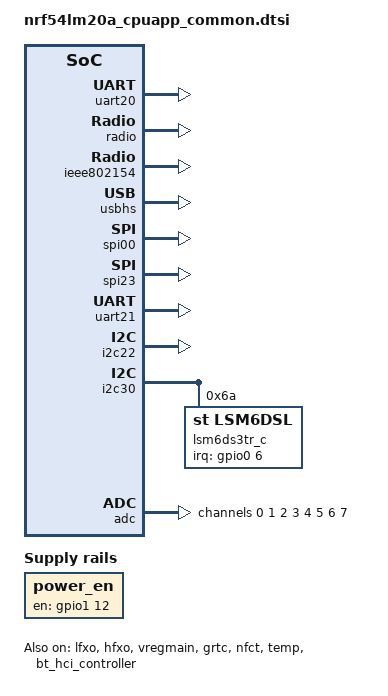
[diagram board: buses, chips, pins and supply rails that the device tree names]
/*
 * Copyright (c) 2025 Seeed Technology Co., Ltd.
 *
 * SPDX-License-Identifier: Apache-2.0
 */

/* This file is common to the secure and non-secure domain */

#include <nordic/nrf54lm20a_cpuapp.dtsi>
#include "xiao_nrf54lm20a_nrf54lm20a-common.dtsi"
#include <vendor/nordic/nrf54lm20a_cpuapp_partition.dtsi>

/ {
	power_en: power_en {
		compatible = "regulator-fixed";
		regulator-name = "power_en";
		enable-gpios = <&gpio1 12 GPIO_ACTIVE_HIGH>;
		regulator-boot-on;
	};

	chosen {
		zephyr,console = &uart20;
		zephyr,shell-uart = &uart20;
		zephyr,uart-mcumgr = &uart20;
		zephyr,bt-mon-uart = &uart20;
		zephyr,bt-c2h-uart = &uart20;
		zephyr,flash-controller = &rram_controller;
		zephyr,flash = &cpuapp_rram;
		zephyr,bt-hci = &bt_hci_controller;
		zephyr,ieee802154 = &ieee802154;
	};

	aliases {
		imu0 = &lsm6ds3tr_c;
	};
};

&cpuapp_sram {
	status = "okay";
};

&hfpll {
	clock-frequency = <DT_FREQ_M(128)>;
};

&lfxo {
	load-capacitors = "internal";
	load-capacitance-femtofarad = <17000>;
	status = "okay";
};

&hfxo {
	load-capacitors = "internal";
	load-capacitance-femtofarad = <15000>;
	status = "okay";
};

&vregmain {
	status = "okay";
	regulator-initial-mode = <NRF5X_REG_MODE_DCDC>;
};

&grtc {
	owned-channels = <0 1 2 3 4 5 6 7 8 9 10 11>;
	/* Channels 7-11 reserved for Zero Latency IRQs, 3-4 for FLPR */
	child-owned-channels = <3 4 7 8 9 10 11>;
	status = "okay";
};

&uart20 {
	status = "okay";
};

&nfct {
	status = "okay";
};

&gpio0 {
	status = "okay";
};

&gpio1 {
	status = "okay";
};

&gpio2 {
	status = "okay";
};

&gpiote20 {
	status = "okay";
};

&gpiote30 {
	status = "okay";
};

&radio {
	status = "okay";
};

&temp {
	status = "okay";
};

&clock {
	status = "okay";
};

&bt_hci_controller {
	status = "okay";
};

&ieee802154 {
	status = "okay";
};

zephyr_udc0: &usbhs {
	status = "okay";
};

&spi00 {
	status = "okay";

	cs-gpios = <&gpio2 5 GPIO_ACTIVE_LOW>;
	pinctrl-0 = <&spi00_default>;
	pinctrl-1 = <&spi00_sleep>;
	pinctrl-names = "default", "sleep";

	py25q64: py25q64ha@0 {
		compatible = "jedec,spi-nor";
		status = "disabled";
		reg = <0>;
		spi-max-frequency = <133000000>;
		jedec-id = [85 20 17];
		sfdp-bfp = [e5 20 f9 ff ff ff ff 03 44 eb 08 6b 08 3b 80 bb
			    fe ff ff ff ff ff 00 ff ff ff 44 eb 0c 20 0f 52
			    10 d8 00 81];
		size = <67108864>;
		has-dpd;
		t-enter-dpd = <3000>;
		t-exit-dpd = <30000>;
		requires-ulbpr;
		use-fast-read;
		hold-gpios = <&gpio2 0 GPIO_ACTIVE_LOW>;
		wp-gpios = <&gpio2 3 GPIO_ACTIVE_LOW>;
	};
};

&spi23 {
	status = "okay";
};

&uart21 {
	status = "okay";
};

&i2c22 {
	status = "okay";
};

&i2c30 {
	status = "okay";

	lsm6ds3tr_c: lsm6ds3tr-c@6a {
		compatible = "st,lsm6dsl";
		reg = <0x6a>;
		irq-gpios = <&gpio0 6 GPIO_ACTIVE_HIGH>;
		status = "okay";
	};
};

&adc {
	status = "okay";
};

&adc {
	#address-cells = <1>;
	#size-cells = <0>;

	channel@0 {
		reg = <0>;
		zephyr,gain = "ADC_GAIN_1_4";
		zephyr,reference = "ADC_REF_INTERNAL";
		zephyr,acquisition-time = <ADC_ACQ_TIME_DEFAULT>;
		zephyr,input-positive = <NRF_SAADC_AIN0>;
		zephyr,resolution = <12>;
		zephyr,oversampling = <8>;
	};

	channel@1 {
		reg = <1>;
		zephyr,gain = "ADC_GAIN_1_4";
		zephyr,reference = "ADC_REF_INTERNAL";
		zephyr,acquisition-time = <ADC_ACQ_TIME_DEFAULT>;
		zephyr,input-positive = <NRF_SAADC_AIN1>;
		zephyr,resolution = <12>;
		zephyr,oversampling = <8>;
	};

	channel@2 {
		reg = <2>;
		zephyr,gain = "ADC_GAIN_1_4";
		zephyr,reference = "ADC_REF_INTERNAL";
		zephyr,acquisition-time = <ADC_ACQ_TIME_DEFAULT>;
		zephyr,input-positive = <NRF_SAADC_AIN2>;
		zephyr,resolution = <12>;
		zephyr,oversampling = <8>;
	};

	channel@3 {
		reg = <3>;
		zephyr,gain = "ADC_GAIN_1_4";
		zephyr,reference = "ADC_REF_INTERNAL";
		zephyr,acquisition-time = <ADC_ACQ_TIME_DEFAULT>;
		zephyr,input-positive = <NRF_SAADC_AIN3>;
		zephyr,resolution = <12>;
		zephyr,oversampling = <8>;
	};

	channel@4 {
		reg = <4>;
		zephyr,gain = "ADC_GAIN_1_4";
		zephyr,reference = "ADC_REF_INTERNAL";
		zephyr,acquisition-time = <ADC_ACQ_TIME_DEFAULT>;
		zephyr,input-positive = <NRF_SAADC_AIN4>;
		zephyr,resolution = <12>;
		zephyr,oversampling = <8>;
	};

	channel@5 {
		reg = <5>;
		zephyr,gain = "ADC_GAIN_1_4";
		zephyr,reference = "ADC_REF_INTERNAL";
		zephyr,acquisition-time = <ADC_ACQ_TIME_DEFAULT>;
		zephyr,input-positive = <NRF_SAADC_AIN5>;
		zephyr,resolution = <12>;
		zephyr,oversampling = <8>;
	};

	channel@6 {
		reg = <6>;
		zephyr,gain = "ADC_GAIN_1_4";
		zephyr,reference = "ADC_REF_INTERNAL";
		zephyr,acquisition-time = <ADC_ACQ_TIME_DEFAULT>;
		zephyr,input-positive = <NRF_SAADC_AIN6>;
		zephyr,resolution = <12>;
		zephyr,oversampling = <8>;
	};

	channel@7 {
		reg = <7>;
		zephyr,gain = "ADC_GAIN_1_4";
		zephyr,reference = "ADC_REF_INTERNAL";
		zephyr,acquisition-time = <ADC_ACQ_TIME_DEFAULT>;
		zephyr,input-positive = <NRF_SAADC_AIN7>;
		zephyr,resolution = <12>;
		zephyr,oversampling = <8>;
	};
};
